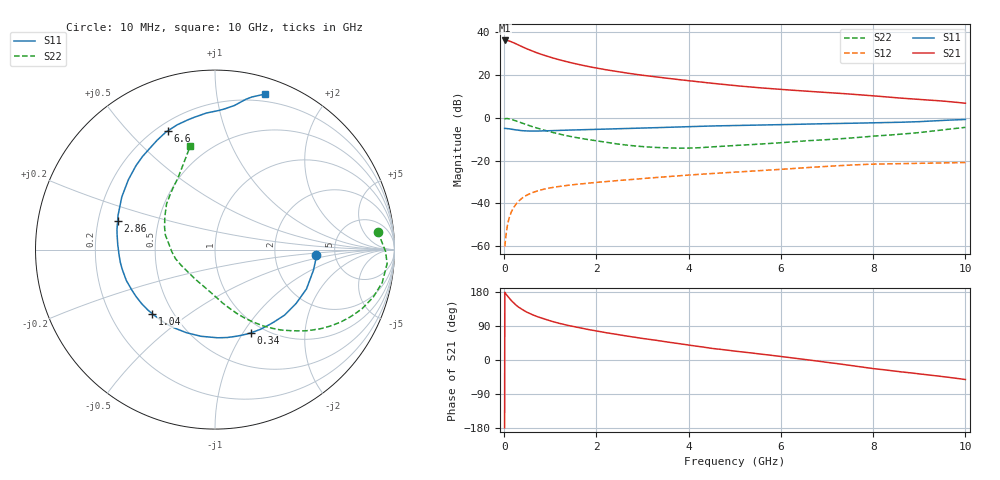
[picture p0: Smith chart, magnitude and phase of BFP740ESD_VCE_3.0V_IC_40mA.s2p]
! Infineon Technologies  Discrete & RF Semiconductors
! BFP740ESD
! VCE =  3.0 V,  IC =  40 mA
! Common Emitter S-Parameters:  Jan 2016
# GHz  S  MA  R  50
!  f  S11  S21  S12  S22
! GHz  MAG  ANG  MAG  ANG  MAG  ANG  MAG  ANG
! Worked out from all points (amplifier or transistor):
!   233 points, 10 MHz to 10 GHz, reference 50 ohm
!   highest |S21| = 36.1 dB at 20 MHz (marker M1)
!   |S21| within 3 dB of that: start of sweep to 398.2 MHz
!   unconditionally stable (mu >= 1): 3.633 GHz to 6.563 GHz
!   at 200 MHz: K = 0.25, MSG = 38.6 dB, |S12| = -42.2 dB
!   at 1.74 GHz: K = 0.75, MSG = 27.5 dB, |S12| = -30.8 dB
!   at 10 GHz: K = 0.69, MSG = 13.9 dB, |S12| = -20.9 dB
!   S11 on the Smith chart (normalised r, x): 10 MHz: 3.54, -0.33; 340 MHz: 0.87, -1.08; 1.04 GHz: 0.39, -0.37; 2.86 GHz: 0.28, +0.13; 6.6 GHz: 0.24, +0.65; 10 GHz: 0.13, +1.37
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0.01  0.5628 -3.2  63.26 -179.2  0.001 120.3  0.9124 6.3
0.02  0.5649 -5.1  63.82 177.0  0.0011 92.2  0.9502 -0.6
0.05  0.5605 -11.8  63.71 172.4  0.0022 86.3  0.9622 -4.6
0.1  0.5549 -23.3  62.65 164.8  0.0042 79.0  0.9498 -11.1
0.15  0.5424 -33.6  59.99 157.5  0.0061 75.9  0.9204 -16.8
0.2  0.5324 -43.3  57.02 151.2  0.0078 72.2  0.8844 -21.7
0.24  0.5206 -50.5  54.29 146.7  0.0091 69.6  0.8542 -25.1
0.34  0.5047 -66.9  48.31 137.3  0.0119 64.4  0.7805 -32.6
0.45  0.4946 -82.0  42.6 129.0  0.0147 59.7  0.7088 -39.1
0.6  0.4892 -99.1  36.46 120.1  0.0176 54.5  0.625 -46.4
0.8  0.4919 -117.4  30.36 110.8  0.0206 49.7  0.5376 -54.4
1.04  0.4996 -134.3  25.18 101.9  0.0234 45.6  0.4571 -62.1
1.3  0.5114 -148.5  21.08 93.7  0.0257 42.6  0.3921 -69.1
1.68  0.5243 -164.0  16.95 83.8  0.0286 40.3  0.327 -77.6
2.2  0.5398 179.5  13.25 72.2  0.0322 38.6  0.2673 -88.2
2.86  0.5659 163.4  10.3 59.5  0.0368 37.3  0.2178 -104.9
3.4  0.5904 152.4  8.689 50.0  0.0409 35.9  0.1999 -120.2
5.1  0.6603 126.7  5.507 22.1  0.0544 29.5  0.2279 -169.0
6.6  0.7125 111.5  4.143 0.1  0.0688 21.9  0.2915 162.1
6.8  0.7189 109.1  4.008 -2.9  0.071 20.4  0.2993 158.9
8.4  0.7748 88.6  2.988 -28.3  0.0839 5.2  0.3973 128.7
10  0.9107 72.1  2.183 -51.5  0.0899 -7.7  0.5951 103.3
